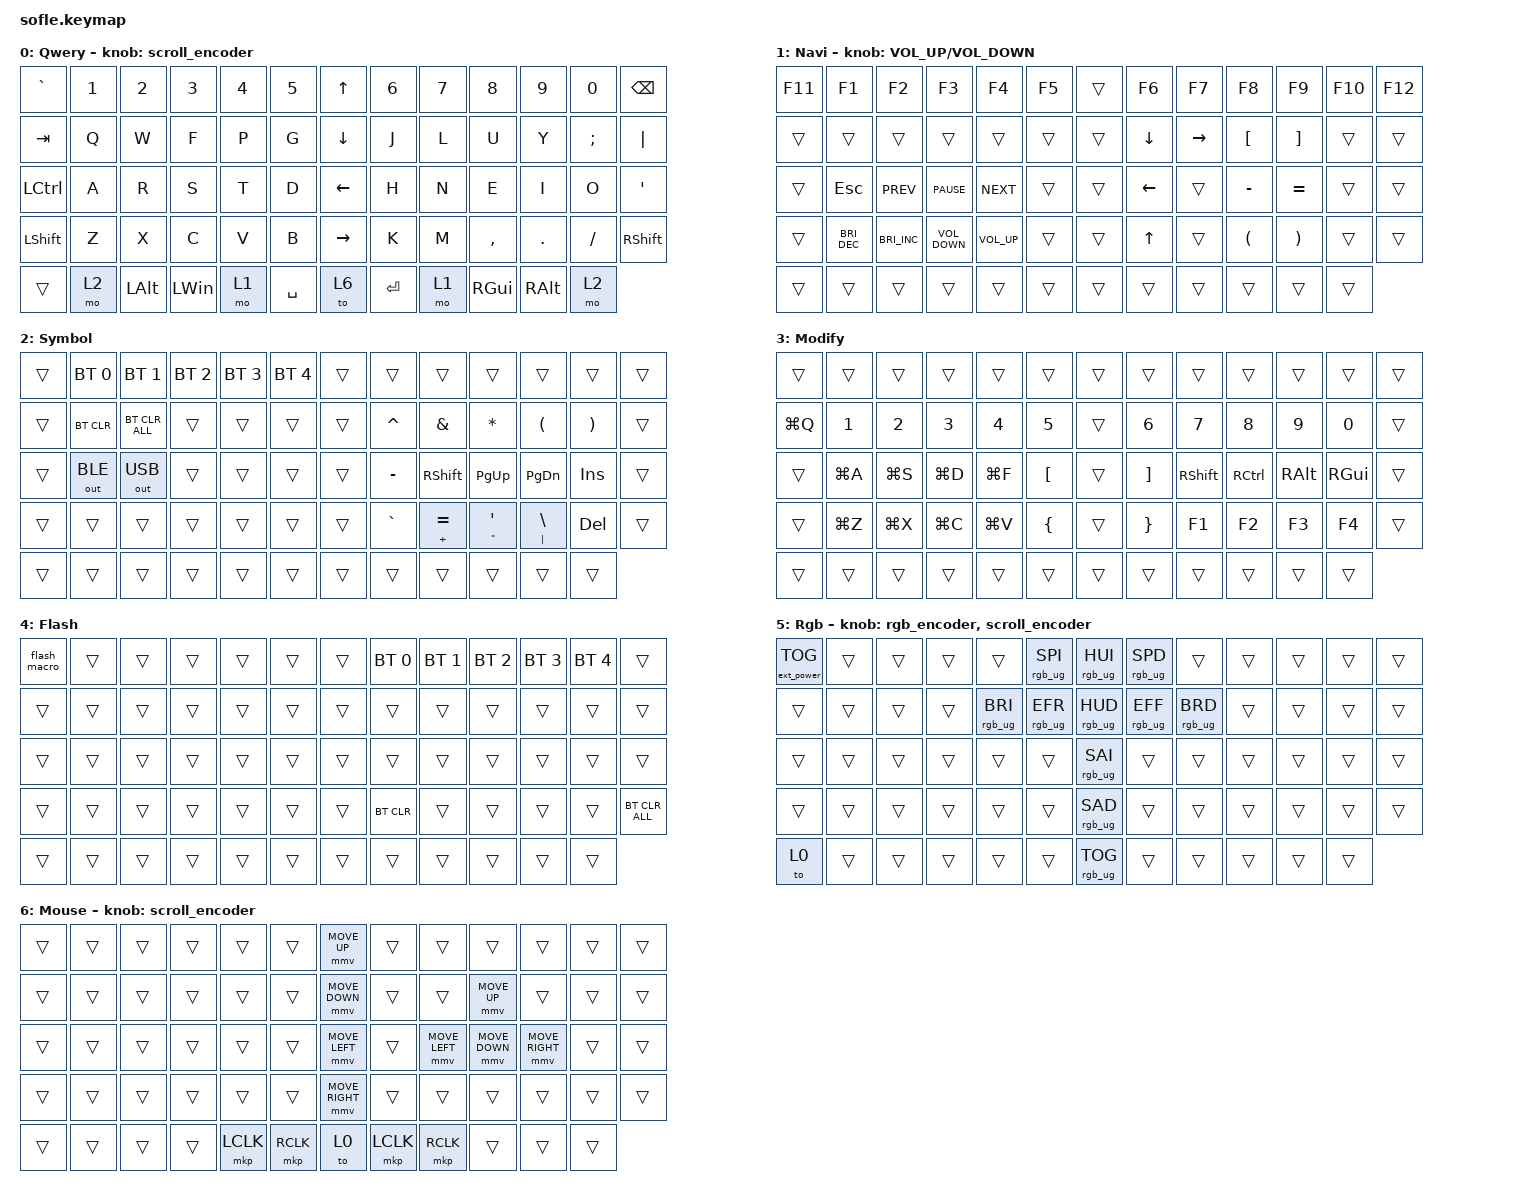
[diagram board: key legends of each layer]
#define ZMK_POINTING_DEFAULT_MOVE_VAL 1200  // 600
#define ZMK_POINTING_DEFAULT_SCRL_VAL 25   // 10

#include <input/processors.dtsi>
#include <zephyr/dt-bindings/input/input-event-codes.h>
#include <behaviors.dtsi>
#include <dt-bindings/zmk/bt.h>
#include <dt-bindings/zmk/ext_power.h>
#include <dt-bindings/zmk/keys.h>
#include <dt-bindings/zmk/outputs.h>
#include <dt-bindings/zmk/pointing.h>
#include <dt-bindings/zmk/rgb.h>

&mmv_input_listener { input-processors = <&zip_xy_scaler 2 1>; };

&msc_input_listener { input-processors = <&zip_scroll_scaler 2 1>; };

&msc {
    acceleration-exponent = <1>;      // 0
    time-to-max-speed-ms = <100>;       // 300
    delay-ms = <0>;                   // 0
};

&mmv {
    time-to-max-speed-ms = <500>;
    acceleration-exponent = <1>;
    trigger-period-ms = <16>;
};

/ {
    macros {
        flash_macro: flash_macro {
            compatible = "zmk,behavior-macro";
            #binding-cells = <0>;
            bindings = <&bootloader>;
        };
    };

    behaviors {
        hm: homerow_mods {
            compatible = "zmk,behavior-hold-tap";
            label = "HOMEROW_MODS";
            bindings = <&kp>, <&kp>;

            #binding-cells = <2>;
            tapping-term-ms = <200>;
            quick-tap-ms = <180>;
            flavor = "tap-preferred";
        };

        ltq: ltq {
            compatible = "zmk,behavior-hold-tap";
            label = "LTQ";
            bindings = <&mo>, <&kp>;

            #binding-cells = <2>;
            tapping-term-ms = <200>;
            quick-tap-ms = <180>;
        };

        as: auto_shift {
            compatible = "zmk,behavior-hold-tap";
            label = "AUTO_SHIFT";
            bindings = <&kp>, <&kp>;

            #binding-cells = <2>;
            tapping-term-ms = <135>;
            quick-tap-ms = <0>;
        };

        rgb_encoder: rgb_encoder {
            compatible = "zmk,behavior-sensor-rotate";
            label = "RGB_ENCODER";
            #sensor-binding-cells = <0>;
            bindings = <&rgb_ug RGB_BRI>, <&rgb_ug RGB_BRD>;
        };

        scroll_encoder: scroll_encoder {
            compatible = "zmk,behavior-sensor-rotate";
            #sensor-binding-cells = <0>;
            bindings = <&msc SCRL_UP>, <&msc SCRL_DOWN>;

            tap-ms = <100>;
        };
    };

    combos {
        compatible = "zmk,combos";

        esc {
            bindings = <&kp ESCAPE>;
            key-positions = <13 14>;
        };

        left_bkt {
            bindings = <&kp LEFT_BRACKET>;
            key-positions = <17 16>;
        };

        right_bkt {
            bindings = <&kp RIGHT_BRACKET>;
            key-positions = <21 22>;
        };

        left_par {
            bindings = <&kp LEFT_PARENTHESIS>;
            key-positions = <29 30>;
        };

        right_par {
            bindings = <&kp RIGHT_PARENTHESIS>;
            key-positions = <34 35>;
        };

        left_brace {
            bindings = <&kp LEFT_BRACE>;
            key-positions = <42 43>;
        };

        right_brace {
            bindings = <&kp RIGHT_BRACE>;
            key-positions = <47 48>;
        };

        bac {
            bindings = <&kp BACKSLASH>;
            key-positions = <18 20>;
        };

        pipe {
            bindings = <&kp PIPE>;
            key-positions = <31 33>;
        };
    };

    keymap {
        compatible = "zmk,keymap";

        Comak {
            bindings = <
&kp GRAVE         &kp N1  &kp N2    &kp N3        &kp N4  &kp N5       &kp UP_ARROW     &kp N6     &kp N7  &kp N8         &kp N9      &kp N0         &kp BACKSPACE
&kp TAB           &kp Q   &kp W     &kp F         &kp P   &kp G        &kp DOWN_ARROW   &kp J      &kp L   &kp U          &kp Y       &kp SEMICOLON  &kp PIPE
&kp LEFT_CONTROL  &kp A   &kp R     &kp S         &kp T   &kp D        &kp LEFT_ARROW   &kp H      &kp N   &kp E          &kp I       &kp O          &kp SINGLE_QUOTE
&kp LSHFT         &kp Z   &kp X     &kp C         &kp V   &kp B        &kp RIGHT_ARROW  &kp K      &kp M   &kp COMMA      &kp PERIOD  &kp SLASH      &kp RIGHT_SHIFT
&trans            &mo 2   &kp LALT  &kp LEFT_WIN  &mo 1   &kp SPACE    &to 6            &kp ENTER  &mo 1   &kp RIGHT_GUI  &kp RALT    &mo 2
            >;

            sensor-bindings = <&scroll_encoder>;
            display-name = "Qwery";
        };

        Navi {
            bindings = <
&kp F11  &kp F1                &kp F2                &kp F3             &kp F4           &kp F5    &trans  &kp F6          &kp F7     &kp F8                &kp F9                 &kp F10  &kp F12
&trans   &trans                &trans                &trans             &trans           &trans    &trans  &kp DOWN_ARROW  &kp RIGHT  &kp LEFT_BRACKET      &kp RIGHT_BRACKET      &trans   &trans
&trans   &kp ESCAPE            &kp C_PREV            &kp C_PAUSE        &kp C_NEXT       &trans    &trans  &kp LEFT_ARROW  &trans     &kp MINUS             &kp EQUAL              &trans   &trans
&trans   &kp C_BRIGHTNESS_DEC  &kp C_BRIGHTNESS_INC  &kp C_VOLUME_DOWN  &kp C_VOLUME_UP  &trans    &trans  &kp UP_ARROW    &trans     &kp LEFT_PARENTHESIS  &kp RIGHT_PARENTHESIS  &trans   &trans
&trans   &trans                &trans                &trans             &trans           &trans    &trans  &trans          &trans     &trans                &trans                 &trans
            >;

            label = "Navi";
            sensor-bindings = <&inc_dec_kp C_VOLUME_UP C_VOLUME_DOWN>;
        };

        Symbol {
            bindings = <
&trans  &bt BT_SEL 0  &bt BT_SEL 1    &bt BT_SEL 2  &bt BT_SEL 3  &bt BT_SEL 4    &trans  &trans     &trans           &trans                          &trans                &trans                 &trans
&trans  &bt BT_CLR    &bt BT_CLR_ALL  &trans        &trans        &trans          &trans  &kp CARET  &kp AMPERSAND    &kp ASTERISK                    &kp LEFT_PARENTHESIS  &kp RIGHT_PARENTHESIS  &trans
&trans  &out OUT_BLE  &out OUT_USB    &trans        &trans        &trans          &trans  &kp MINUS  &kp RIGHT_SHIFT  &kp PAGE_UP                     &kp PAGE_DOWN         &kp INSERT             &trans
&trans  &trans        &trans          &trans        &trans        &trans          &trans  &kp GRAVE  &as PLUS EQUAL   &as DOUBLE_QUOTES SINGLE_QUOTE  &as PIPE BACKSLASH    &kp DELETE             &trans
&trans  &trans        &trans          &trans        &trans        &trans          &trans  &trans     &trans           &trans                          &trans                &trans
            >;

            label = "Symbol";
        };

        Modify {
            bindings = <
&trans     &trans        &trans        &trans     &trans     &trans            &trans  &trans           &trans           &trans             &trans         &trans         &trans
&kp LG(Q)  &kp NUMBER_1  &kp NUMBER_2  &kp N3     &kp N4     &kp N5            &trans  &kp N6           &kp N7           &kp N8             &kp N9         &kp N0         &trans
&trans     &kp LG(A)     &kp LG(S)     &kp LG(D)  &kp LG(F)  &kp LBKT          &trans  &kp RBKT         &kp RIGHT_SHIFT  &kp RIGHT_CONTROL  &kp RIGHT_ALT  &kp RIGHT_GUI  &trans
&trans     &kp LG(Z)     &kp LG(X)     &kp LG(C)  &kp LG(V)  &kp LEFT_BRACE    &trans  &kp RIGHT_BRACE  &kp F1           &kp F2             &kp F3         &kp F4         &trans
&trans     &trans        &trans        &trans     &trans     &trans            &trans  &trans           &trans           &trans             &trans         &trans
            >;

            label = "Modify";
        };

        Flash {
            bindings = <
&flash_macro  &trans  &trans  &trans  &trans  &trans    &trans  &bt BT_SEL 0  &bt BT_SEL 1  &bt BT_SEL 2  &bt BT_SEL 3  &bt BT_SEL 4  &trans
&trans        &trans  &trans  &trans  &trans  &trans    &trans  &trans        &trans        &trans        &trans        &trans        &trans
&trans        &trans  &trans  &trans  &trans  &trans    &trans  &trans        &trans        &trans        &trans        &trans        &trans
&trans        &trans  &trans  &trans  &trans  &trans    &trans  &bt BT_CLR    &trans        &trans        &trans        &trans        &bt BT_CLR_ALL
&trans        &trans  &trans  &trans  &trans  &trans    &trans  &trans        &trans        &trans        &trans        &trans
            >;

            display-name = "Flash";
        };

        Rgb {
            bindings = <
&ext_power EP_TOG  &trans  &trans  &trans  &trans           &rgb_ug RGB_SPI    &rgb_ug RGB_HUI  &rgb_ug RGB_SPD  &trans           &trans  &trans  &trans  &trans
&trans             &trans  &trans  &trans  &rgb_ug RGB_BRI  &rgb_ug RGB_EFR    &rgb_ug RGB_HUD  &rgb_ug RGB_EFF  &rgb_ug RGB_BRD  &trans  &trans  &trans  &trans
&trans             &trans  &trans  &trans  &trans           &trans             &rgb_ug RGB_SAI  &trans           &trans           &trans  &trans  &trans  &trans
&trans             &trans  &trans  &trans  &trans           &trans             &rgb_ug RGB_SAD  &trans           &trans           &trans  &trans  &trans  &trans
&to 0              &trans  &trans  &trans  &trans           &trans             &rgb_ug RGB_TOG  &trans           &trans           &trans  &trans  &trans
            >;

            label = "Rgb";
            sensor-bindings = <&rgb_encoder &scroll_encoder>;
        };

        Mouse {
            bindings = <
&trans  &trans  &trans  &trans  &trans     &trans       &mmv MOVE_UP     &trans     &trans          &trans          &trans           &trans  &trans
&trans  &trans  &trans  &trans  &trans     &trans       &mmv MOVE_DOWN   &trans     &trans          &mmv MOVE_UP    &trans           &trans  &trans
&trans  &trans  &trans  &trans  &trans     &trans       &mmv MOVE_LEFT   &trans     &mmv MOVE_LEFT  &mmv MOVE_DOWN  &mmv MOVE_RIGHT  &trans  &trans
&trans  &trans  &trans  &trans  &trans     &trans       &mmv MOVE_RIGHT  &trans     &trans          &trans          &trans           &trans  &trans
&trans  &trans  &trans  &trans  &mkp LCLK  &mkp RCLK    &to 0            &mkp LCLK  &mkp RCLK       &trans          &trans           &trans
            >;

            label = "Mouse";
            sensor-bindings = <&scroll_encoder>;
        };
    };

    conditional_layers {
        compatible = "zmk,conditional-layers";

        Flash {
            if-layers = <2 3>;
            then-layer = <4>;
        };
    };
};
